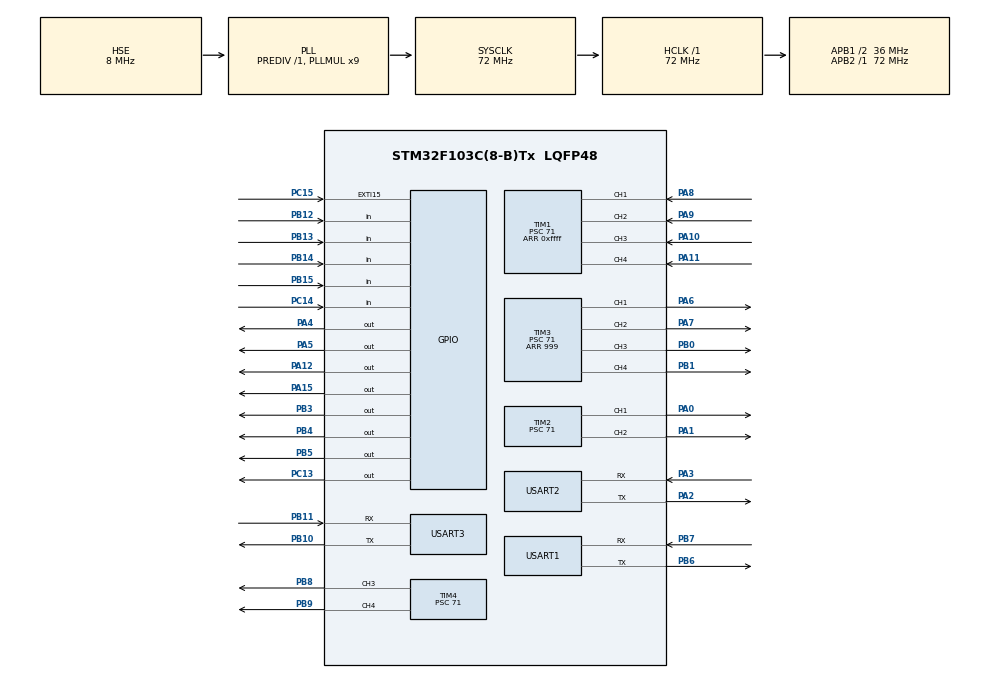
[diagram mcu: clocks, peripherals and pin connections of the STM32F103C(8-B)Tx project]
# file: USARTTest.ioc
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Mcu.Family=STM32F1
Mcu.Name=STM32F103C(8-B)Tx
Mcu.Package=LQFP48
NVIC.PriorityGroup=NVIC_PRIORITYGROUP_4
NVIC.TIM1_CC_IRQn=true\:0\:0\:false\:false\:true\:true\:true\:true
NVIC.TIM2_IRQn=true\:0\:0\:false\:false\:true\:true\:true\:true
NVIC.TIM3_IRQn=true\:0\:0\:false\:false\:true\:true\:true\:true
NVIC.TIM4_IRQn=true\:0\:0\:false\:false\:true\:true\:true\:true
NVIC.USART1_IRQn=true\:0\:0\:false\:false\:true\:true\:true\:true
NVIC.USART2_IRQn=true\:0\:0\:false\:false\:true\:true\:true\:true
NVIC.USART3_IRQn=true\:0\:0\:false\:false\:true\:true\:true\:true
PA0-WKUP.Signal=S_TIM2_CH1_ETR
PA1.Signal=S_TIM2_CH2
PA10.GPIO_PuPd=GPIO_PULLDOWN
PA10.Signal=S_TIM1_CH3
PA11.GPIO_PuPd=GPIO_PULLDOWN
PA11.Signal=S_TIM1_CH4
PA12.GPIO_ModeDefaultOutputPP=GPIO_MODE_OUTPUT_PP
PA12.GPIO_PuPd=GPIO_NOPULL
PA12.GPIO_Speed=GPIO_SPEED_FREQ_HIGH
PA12.PinState=GPIO_PIN_RESET
PA12.Signal=GPIO_Output
PA13.Mode=Serial_Wire
PA13.Signal=SYS_JTMS-SWDIO
PA14.Mode=Serial_Wire
PA14.Signal=SYS_JTCK-SWCLK
PA15.GPIO_PuPd=GPIO_PULLDOWN
PA15.Signal=GPIO_Output
PA2.Mode=Asynchronous
PA2.Signal=USART2_TX
PA3.Mode=Asynchronous
PA3.Signal=USART2_RX
PA4.GPIO_PuPd=GPIO_PULLDOWN
PA4.GPIO_Speed=GPIO_SPEED_FREQ_HIGH
PA4.Signal=GPIO_Output
PA5.GPIO_PuPd=GPIO_PULLDOWN
PA5.GPIO_Speed=GPIO_SPEED_FREQ_HIGH
PA5.PinState=GPIO_PIN_RESET
PA5.Signal=GPIO_Output
PA6.Signal=S_TIM3_CH1
PA7.Signal=S_TIM3_CH2
PA8.GPIO_PuPd=GPIO_PULLDOWN
PA8.Signal=S_TIM1_CH1
PA9.GPIO_PuPd=GPIO_PULLDOWN
PA9.Signal=S_TIM1_CH2
PB0.Signal=S_TIM3_CH3
PB1.Signal=S_TIM3_CH4
PB10.Mode=Asynchronous
PB10.Signal=USART3_TX
PB11.GPIO_PuPd=GPIO_PULLDOWN
PB11.Mode=Asynchronous
PB11.Signal=USART3_RX
PB12.GPIO_PuPd=GPIO_PULLDOWN
PB12.Signal=GPIO_Input
PB13.GPIO_PuPd=GPIO_PULLDOWN
PB13.Signal=GPIO_Input
PB14.GPIO_PuPd=GPIO_PULLDOWN
PB14.Signal=GPIO_Input
PB15.GPIO_PuPd=GPIO_PULLDOWN
PB15.Signal=GPIO_Input
PB3.GPIO_PuPd=GPIO_PULLDOWN
PB3.Signal=GPIO_Output
PB4.GPIO_PuPd=GPIO_PULLDOWN
PB4.Signal=GPIO_Output
PB5.GPIO_PuPd=GPIO_PULLDOWN
PB5.Signal=GPIO_Output
PB6.Mode=Asynchronous
PB6.Signal=USART1_TX
PB7.GPIO_PuPd=GPIO_PULLDOWN
PB7.Mode=Asynchronous
PB7.Signal=USART1_RX
PB8.Signal=S_TIM4_CH3
PB9.Signal=S_TIM4_CH4
PC13-TAMPER-RTC.GPIO_PuPd=GPIO_NOPULL
PC13-TAMPER-RTC.GPIO_Speed=GPIO_SPEED_FREQ_HIGH
PC13-TAMPER-RTC.PinState=GPIO_PIN_RESET
PC13-TAMPER-RTC.Signal=GPIO_Output
PC14-OSC32_IN.GPIO_PuPd=GPIO_PULLDOWN
PC14-OSC32_IN.Signal=GPIO_Input
PC15-OSC32_OUT.GPIO_ModeDefaultEXTI=GPIO_MODE_IT_RISING
PC15-OSC32_OUT.GPIO_PuPd=GPIO_PULLDOWN
PC15-OSC32_OUT.Signal=GPXTI15
PD0-OSC_IN.Mode=HSE-External-Oscillator
PD0-OSC_IN.Signal=RCC_OSC_IN
PD1-OSC_OUT.Mode=HSE-External-Oscillator
PD1-OSC_OUT.Signal=RCC_OSC_OUT
ProjectManager.HeapSize=0x200
ProjectManager.StackSize=0x400
ProjectManager.TargetToolchain=MDK-ARM V5
RCC.AHBFreq_Value=72000000
RCC.APB1CLKDivider=RCC_HCLK_DIV2
RCC.APB1Freq_Value=36000000
RCC.APB1TimFreq_Value=72000000
RCC.APB2Freq_Value=72000000
RCC.APB2TimFreq_Value=72000000
RCC.HCLKFreq_Value=72000000
RCC.PLLMUL=RCC_PLL_MUL9
RCC.PLLSourceVirtual=RCC_PLLSOURCE_HSE
RCC.SYSCLKFreq_VALUE=72000000
RCC.SYSCLKSource=RCC_SYSCLKSOURCE_PLLCLK
RCC.USBFreq_Value=72000000
SH.S_TIM1_CH1.0=TIM1_CH1,Input_Capture1_from_TI1
SH.S_TIM1_CH2.0=TIM1_CH2,Input_Capture2_from_TI2
SH.S_TIM1_CH3.0=TIM1_CH3,Input_Capture3_from_TI3
SH.S_TIM1_CH4.0=TIM1_CH4,Input_Capture4_from_TI4
SH.S_TIM2_CH1_ETR.0=TIM2_CH1,PWM Generation1 CH1
SH.S_TIM2_CH2.0=TIM2_CH2,PWM Generation2 CH2
SH.S_TIM3_CH1.0=TIM3_CH1,PWM Generation1 CH1
SH.S_TIM3_CH2.0=TIM3_CH2,PWM Generation2 CH2
SH.S_TIM3_CH3.0=TIM3_CH3,PWM Generation3 CH3
SH.S_TIM3_CH4.0=TIM3_CH4,PWM Generation4 CH4
SH.S_TIM4_CH3.0=TIM4_CH3,PWM Generation3 CH3
SH.S_TIM4_CH4.0=TIM4_CH4,PWM Generation4 CH4
TIM1.AutoReloadPreload=TIM_AUTORELOAD_PRELOAD_ENABLE
TIM1.Channel-Input_Capture1_from_TI1=TIM_CHANNEL_1
TIM1.Channel-Input_Capture2_from_TI2=TIM_CHANNEL_2
TIM1.Channel-Input_Capture3_from_TI3=TIM_CHANNEL_3
TIM1.Channel-Input_Capture4_from_TI4=TIM_CHANNEL_4
TIM1.Period=0xffff
TIM1.Prescaler=71
TIM2.Channel-PWM\ Generation1\ CH1=TIM_CHANNEL_1
TIM2.Channel-PWM\ Generation2\ CH2=TIM_CHANNEL_2
TIM2.Period=999
TIM2.Prescaler=71
TIM3.Channel-PWM\ Generation1\ CH1=TIM_CHANNEL_1
TIM3.Channel-PWM\ Generation2\ CH2=TIM_CHANNEL_2
TIM3.Channel-PWM\ Generation3\ CH3=TIM_CHANNEL_3
TIM3.Channel-PWM\ Generation4\ CH4=TIM_CHANNEL_4
TIM3.Period=999
TIM3.Prescaler=71
TIM4.AutoReloadPreload=TIM_AUTORELOAD_PRELOAD_ENABLE
TIM4.Channel-PWM\ Generation3\ CH3=TIM_CHANNEL_3
TIM4.Channel-PWM\ Generation4\ CH4=TIM_CHANNEL_4
TIM4.Period=999
TIM4.Prescaler=71
USART1.VirtualMode=VM_ASYNC
USART2.VirtualMode=VM_ASYNC
USART3.VirtualMode=VM_ASYNC
VP_TIM4_VS_ClockSourceINT.Mode=Internal
board=custom

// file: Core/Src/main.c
/* USER CODE BEGIN Header */
/**
  ******************************************************************************
  * @file           : main.c
  * @brief          : Main program body
  ******************************************************************************
  * @attention
  *
  * Copyright (c) 2022 STMicroelectronics.
  * All rights reserved.
  *
  * This software is licensed under terms that can be found in the LICENSE file
  * in the root directory of this software component.
  * If no LICENSE file comes with this software, it is provided AS-IS.
  *
  ******************************************************************************
  */
/* USER CODE END Header */
#include "main.h"

/* USER CODE BEGIN Includes */
#include "stdio.h"
#include "stm32f1xx_hal_tim.h"
#include "oled.h"
/* USER CODE END Includes */

/* USER CODE BEGIN PD */

#define GPIO_IRQ_		  GPIOC
#define GPIO_IRQ_PIN  GPIO_PIN_15
#define GPIO_DA			  GPIOC
#define GPIO_DA_PIN   GPIO_PIN_14
#define GPIO_CK			  GPIOC
#define GPIO_CK_PIN	  GPIO_PIN_13
#define GPIO_LD			  GPIOA
#define GPIO_LD_PIN	  GPIO_PIN_12

#define EXTI_Keyboard_PinSource EXTI_PinSource15
#define EXTI_Keyboard_Line EXTI_Line15
/* USER CODE END PD */

TIM_HandleTypeDef htim1;
TIM_HandleTypeDef htim2;
TIM_HandleTypeDef htim3;
TIM_HandleTypeDef htim4;

UART_HandleTypeDef huart1;
UART_HandleTypeDef huart2;
UART_HandleTypeDef huart3;

/* USER CODE BEGIN PV */
uint8_t rx;
int w=0;
int speed=0;

uint32_t TIM1_CH3_VAL[5];//0:last;1:current;2:delta;4:COUNTOUT;5:CNT
uint32_t TIM1_CH4_VAL[5];//0:last;1:current;2:delta;4:COUNTOUT;5:CNT
volatile float SPEED3[10];
volatile float SPEED4[10];
volatile float SPEED_3=0;
volatile float SPEED_4=0;
volatile int setspeed3=200;
volatile int setspeed4=200;
const float D=0.065f;
const float PI=3.14159265f;
struct{
	float x_theta;
} car;

typedef struct
{
	volatile float target;
	volatile float kp;
	volatile float ki;
	volatile float kd;
	volatile float P;
	volatile float I;
	volatile float D;
	volatile float last_e;
	volatile float current_e;
}P_I_D;

P_I_D PID_Theta;
float theta=0;
volatile float speed_delta=0;

uint8_t rx_buf1[24];  //  for saving RX Data
uint8_t rx_buf2[24];
uint8_t rx_buf3[24];
char usart1rx[24];
char usart2rx[24];
char usart3rx[24];

char TIM_4_Cnt=0;;

float targeta=450;

char stop_cnt=0;

/* USER CODE END PV */

void SystemClock_Config(void);
static void MX_GPIO_Init(void);
static void MX_USART1_UART_Init(void);
static void MX_TIM2_Init(void);
static void MX_TIM3_Init(void);
static void MX_TIM4_Init(void);
static void MX_TIM1_Init(void);
static void MX_USART3_UART_Init(void);
static void MX_USART2_UART_Init(void);
/* USER CODE BEGIN PFP */
int fputc(int ch,FILE *f);
void Wheel(int w,int speed);
void PID_Init(P_I_D *pid);
float PID_DO(P_I_D *pid,float actualvalue);
float PID_Do(P_I_D *pid,float actualvalue);
float PID_DA(P_I_D *pid,float actualvalue);
void PID_Set_Para(P_I_D *pid,int para,float value);
int Getpix(char* str);
uint16_t Keyboard_ReadData(void);
void KeyAction(uint8_t key);
/* USER CODE END PFP */

int main(void)
{

  /* MCU Configuration--------------------------------------------------------*/

  /* Reset of all peripherals, Initializes the Flash interface and the Systick. */
  HAL_Init();

  /* Configure the system clock */
  SystemClock_Config();

  /* Initialize all configured peripherals */
  MX_GPIO_Init();
  MX_USART1_UART_Init();
  MX_TIM2_Init();
  MX_TIM3_Init();
  MX_TIM4_Init();
  MX_TIM1_Init();
  MX_USART3_UART_Init();
  MX_USART2_UART_Init();
  /* USER CODE BEGIN 2 */
	HAL_TIM_PWM_Start(&htim2,TIM_CHANNEL_1);
	HAL_TIM_PWM_Start(&htim2,TIM_CHANNEL_2);
	HAL_TIM_PWM_Start(&htim4,TIM_CHANNEL_3);
	HAL_TIM_PWM_Start(&htim4,TIM_CHANNEL_4);
	HAL_TIM_PWM_Start(&htim3,TIM_CHANNEL_1);
	HAL_TIM_PWM_Start(&htim3,TIM_CHANNEL_2);
	HAL_TIM_PWM_Start(&htim3,TIM_CHANNEL_3);
	HAL_TIM_PWM_Start(&htim3,TIM_CHANNEL_4);

	HAL_NVIC_SetPriority(SysTick_IRQn,0,0);

	HAL_TIM_Base_Start_IT(&htim1);//Timer turn on(input capture)
	HAL_TIM_IC_Start_IT(&htim1,TIM_CHANNEL_3);
	HAL_TIM_IC_Start_IT(&htim1,TIM_CHANNEL_4);
	HAL_UART_Receive_IT(&huart1,(uint8_t*)rx_buf1, 1);
	HAL_UART_Receive_IT(&huart3,(uint8_t*)rx_buf3, 1);
	HAL_TIM_Base_Start_IT(&htim4);//Timer on
	P_I_D PIDV3,PIDV4;
	PID_Init(&PIDV3);
	PID_Init(&PIDV4);
	PIDV3.target=0.5;
	PIDV4.target=0.5;
	Wheel(3,setspeed3);
	Wheel(4,setspeed4);
	PID_Set_Para(&PIDV3,0,-40);
	PID_Set_Para(&PIDV4,0,-40);
	PID_Set_Para(&PIDV3,1,-0.02);
	PID_Set_Para(&PIDV4,1,-0.02);
	PID_Set_Para(&PIDV3,2,-400);
	PID_Set_Para(&PIDV4,2,-2000);
	PID_Init(&PID_Theta);
	PID_Theta.target=0;
	PID_Set_Para(&PID_Theta,0,0.011);//0.01
	PID_Set_Para(&PID_Theta,1,0.00005);//0.00005
	PID_Set_Para(&PID_Theta,2,0.015);//0.013

	HAL_Delay(1000);

  /* USER CODE END 2 */

  /* Infinite loop */
  while (1)
  {

    /* USER CODE BEGIN 3 */

		//TIM_4_Cnt
		if(TIM_4_Cnt){
			static int t=0;
			if(stop_cnt==2){
				setspeed3=-40;
				setspeed4=5;
				Wheel(3,setspeed3);
				Wheel(4,setspeed4);
				HAL_Delay(5000);
				setspeed3 = 200;
				setspeed4 = 200;
				stop_cnt=0;
			}
			if(t>=5){
//				theta=Getpix(usart3rx);
				speed_delta+=PID_DA(&PID_Theta,theta);
				if(speed_delta>0.25){
					speed_delta=0.25;
				}
				if(speed_delta<-0.25){
					speed_delta=-0.25;
				}
				PIDV3.target=(targeta/1000)+speed_delta;
				PIDV4.target=(targeta/1000)-speed_delta;
				t=0;
			}
			setspeed3+=PID_DO(&PIDV3,SPEED_3);
			setspeed4+=PID_Do(&PIDV4,SPEED_4);
			if(setspeed4<0){
				setspeed4=50;
			}
			if(1){

			}
			Wheel(3,setspeed3);
			Wheel(4,setspeed4);
			TIM_4_Cnt=0;
			t++;
			//printf("%f,%f\r\n",SPEED_3*1000,SPEED_4*1000);
			if(usart3rx[0]=='s'){
				usart3rx[0]=0;
				stop_cnt=1;
			}
			if(usart3rx[0]=='w'){
				usart3rx[0]=0;
				stop_cnt=2;
			}
			if(stop_cnt==1){
				Wheel(3,-40);
				Wheel(4,5);
				while(1){

				}
			}

		}

	}
  /* USER CODE END 3 */
}

void SystemClock_Config(void)
{
  RCC_OscInitTypeDef RCC_OscInitStruct = {0};
  RCC_ClkInitTypeDef RCC_ClkInitStruct = {0};

  /** Initializes the RCC Oscillators according to the specified parameters
  * in the RCC_OscInitTypeDef structure.
  */
  RCC_OscInitStruct.OscillatorType = RCC_OSCILLATORTYPE_HSE;
  RCC_OscInitStruct.HSEState = RCC_HSE_ON;
  RCC_OscInitStruct.HSEPredivValue = RCC_HSE_PREDIV_DIV1;
  RCC_OscInitStruct.HSIState = RCC_HSI_ON;
  RCC_OscInitStruct.PLL.PLLState = RCC_PLL_ON;
  RCC_OscInitStruct.PLL.PLLSource = RCC_PLLSOURCE_HSE;
  RCC_OscInitStruct.PLL.PLLMUL = RCC_PLL_MUL9;
  if (HAL_RCC_OscConfig(&RCC_OscInitStruct) != HAL_OK)
  {
    Error_Handler();
  }

  /** Initializes the CPU, AHB and APB buses clocks
  */
  RCC_ClkInitStruct.ClockType = RCC_CLOCKTYPE_HCLK|RCC_CLOCKTYPE_SYSCLK
                              |RCC_CLOCKTYPE_PCLK1|RCC_CLOCKTYPE_PCLK2;
  RCC_ClkInitStruct.SYSCLKSource = RCC_SYSCLKSOURCE_PLLCLK;
  RCC_ClkInitStruct.AHBCLKDivider = RCC_SYSCLK_DIV1;
  RCC_ClkInitStruct.APB1CLKDivider = RCC_HCLK_DIV2;
  RCC_ClkInitStruct.APB2CLKDivider = RCC_HCLK_DIV1;

  if (HAL_RCC_ClockConfig(&RCC_ClkInitStruct, FLASH_LATENCY_2) != HAL_OK)
  {
    Error_Handler();
  }
}

static void MX_TIM1_Init(void)
{

  TIM_MasterConfigTypeDef sMasterConfig = {0};
  TIM_IC_InitTypeDef sConfigIC = {0};

  htim1.Instance = TIM1;
  htim1.Init.Prescaler = 71;
  htim1.Init.CounterMode = TIM_COUNTERMODE_UP;
  htim1.Init.Period = 0xffff;
  htim1.Init.ClockDivision = TIM_CLOCKDIVISION_DIV1;
  htim1.Init.RepetitionCounter = 0;
  htim1.Init.AutoReloadPreload = TIM_AUTORELOAD_PRELOAD_ENABLE;
  if (HAL_TIM_IC_Init(&htim1) != HAL_OK)
  {
    Error_Handler();
  }
  sMasterConfig.MasterOutputTrigger = TIM_TRGO_RESET;
  sMasterConfig.MasterSlaveMode = TIM_MASTERSLAVEMODE_DISABLE;
  if (HAL_TIMEx_MasterConfigSynchronization(&htim1, &sMasterConfig) != HAL_OK)
  {
    Error_Handler();
  }
  sConfigIC.ICPolarity = TIM_INPUTCHANNELPOLARITY_RISING;
  sConfigIC.ICSelection = TIM_ICSELECTION_DIRECTTI;
  sConfigIC.ICPrescaler = TIM_ICPSC_DIV1;
  sConfigIC.ICFilter = 0;
  if (HAL_TIM_IC_ConfigChannel(&htim1, &sConfigIC, TIM_CHANNEL_1) != HAL_OK)
  {
    Error_Handler();
  }
  if (HAL_TIM_IC_ConfigChannel(&htim1, &sConfigIC, TIM_CHANNEL_2) != HAL_OK)
  {
    Error_Handler();
  }
  if (HAL_TIM_IC_ConfigChannel(&htim1, &sConfigIC, TIM_CHANNEL_3) != HAL_OK)
  {
    Error_Handler();
  }
  if (HAL_TIM_IC_ConfigChannel(&htim1, &sConfigIC, TIM_CHANNEL_4) != HAL_OK)
  {
    Error_Handler();
  }

}

static void MX_TIM2_Init(void)
{

  TIM_MasterConfigTypeDef sMasterConfig = {0};
  TIM_OC_InitTypeDef sConfigOC = {0};

  htim2.Instance = TIM2;
  htim2.Init.Prescaler = 71;
  htim2.Init.CounterMode = TIM_COUNTERMODE_UP;
  htim2.Init.Period = 999;
  htim2.Init.ClockDivision = TIM_CLOCKDIVISION_DIV1;
  htim2.Init.AutoReloadPreload = TIM_AUTORELOAD_PRELOAD_DISABLE;
  if (HAL_TIM_PWM_Init(&htim2) != HAL_OK)
  {
    Error_Handler();
  }
  sMasterConfig.MasterOutputTrigger = TIM_TRGO_RESET;
  sMasterConfig.MasterSlaveMode = TIM_MASTERSLAVEMODE_DISABLE;
  if (HAL_TIMEx_MasterConfigSynchronization(&htim2, &sMasterConfig) != HAL_OK)
  {
    Error_Handler();
  }
  sConfigOC.OCMode = TIM_OCMODE_PWM1;
  sConfigOC.Pulse = 0;
  sConfigOC.OCPolarity = TIM_OCPOLARITY_HIGH;
  sConfigOC.OCFastMode = TIM_OCFAST_DISABLE;
  if (HAL_TIM_PWM_ConfigChannel(&htim2, &sConfigOC, TIM_CHANNEL_1) != HAL_OK)
  {
    Error_Handler();
  }
  if (HAL_TIM_PWM_ConfigChannel(&htim2, &sConfigOC, TIM_CHANNEL_2) != HAL_OK)
  {
    Error_Handler();
  }
  HAL_TIM_MspPostInit(&htim2);

}

static void MX_TIM3_Init(void)
{

  TIM_MasterConfigTypeDef sMasterConfig = {0};
  TIM_OC_InitTypeDef sConfigOC = {0};

  htim3.Instance = TIM3;
  htim3.Init.Prescaler = 71;
  htim3.Init.CounterMode = TIM_COUNTERMODE_UP;
  htim3.Init.Period = 999;
  htim3.Init.ClockDivision = TIM_CLOCKDIVISION_DIV1;
  htim3.Init.AutoReloadPreload = TIM_AUTORELOAD_PRELOAD_DISABLE;
  if (HAL_TIM_PWM_Init(&htim3) != HAL_OK)
  {
    Error_Handler();
  }
  sMasterConfig.MasterOutputTrigger = TIM_TRGO_RESET;
  sMasterConfig.MasterSlaveMode = TIM_MASTERSLAVEMODE_DISABLE;
  if (HAL_TIMEx_MasterConfigSynchronization(&htim3, &sMasterConfig) != HAL_OK)
  {
    Error_Handler();
  }
  sConfigOC.OCMode = TIM_OCMODE_PWM1;
  sConfigOC.Pulse = 0;
  sConfigOC.OCPolarity = TIM_OCPOLARITY_HIGH;
  sConfigOC.OCFastMode = TIM_OCFAST_DISABLE;
  if (HAL_TIM_PWM_ConfigChannel(&htim3, &sConfigOC, TIM_CHANNEL_1) != HAL_OK)
  {
    Error_Handler();
  }
  if (HAL_TIM_PWM_ConfigChannel(&htim3, &sConfigOC, TIM_CHANNEL_2) != HAL_OK)
  {
    Error_Handler();
  }
  if (HAL_TIM_PWM_ConfigChannel(&htim3, &sConfigOC, TIM_CHANNEL_3) != HAL_OK)
  {
    Error_Handler();
  }
  if (HAL_TIM_PWM_ConfigChannel(&htim3, &sConfigOC, TIM_CHANNEL_4) != HAL_OK)
  {
    Error_Handler();
  }
  HAL_TIM_MspPostInit(&htim3);

}

static void MX_TIM4_Init(void)
{

  TIM_ClockConfigTypeDef sClockSourceConfig = {0};
  TIM_MasterConfigTypeDef sMasterConfig = {0};
  TIM_OC_InitTypeDef sConfigOC = {0};

  htim4.Instance = TIM4;
  htim4.Init.Prescaler = 71;
  htim4.Init.CounterMode = TIM_COUNTERMODE_UP;
  htim4.Init.Period = 999;
  htim4.Init.ClockDivision = TIM_CLOCKDIVISION_DIV1;
  htim4.Init.AutoReloadPreload = TIM_AUTORELOAD_PRELOAD_ENABLE;
  if (HAL_TIM_Base_Init(&htim4) != HAL_OK)
  {
    Error_Handler();
  }
  sClockSourceConfig.ClockSource = TIM_CLOCKSOURCE_INTERNAL;
  if (HAL_TIM_ConfigClockSource(&htim4, &sClockSourceConfig) != HAL_OK)
  {
    Error_Handler();
  }
  if (HAL_TIM_PWM_Init(&htim4) != HAL_OK)
  {
    Error_Handler();
  }
  sMasterConfig.MasterOutputTrigger = TIM_TRGO_RESET;
  sMasterConfig.MasterSlaveMode = TIM_MASTERSLAVEMODE_DISABLE;
  if (HAL_TIMEx_MasterConfigSynchronization(&htim4, &sMasterConfig) != HAL_OK)
  {
    Error_Handler();
  }
  sConfigOC.OCMode = TIM_OCMODE_PWM1;
  sConfigOC.Pulse = 0;
  sConfigOC.OCPolarity = TIM_OCPOLARITY_HIGH;
  sConfigOC.OCFastMode = TIM_OCFAST_DISABLE;
  if (HAL_TIM_PWM_ConfigChannel(&htim4, &sConfigOC, TIM_CHANNEL_3) != HAL_OK)
  {
    Error_Handler();
  }
  if (HAL_TIM_PWM_ConfigChannel(&htim4, &sConfigOC, TIM_CHANNEL_4) != HAL_OK)
  {
    Error_Handler();
  }
  HAL_TIM_MspPostInit(&htim4);

}

static void MX_USART1_UART_Init(void)
{

  huart1.Instance = USART1;
  huart1.Init.BaudRate = 115200;
  huart1.Init.WordLength = UART_WORDLENGTH_8B;
  huart1.Init.StopBits = UART_STOPBITS_1;
  huart1.Init.Parity = UART_PARITY_NONE;
  huart1.Init.Mode = UART_MODE_TX_RX;
  huart1.Init.HwFlowCtl = UART_HWCONTROL_NONE;
  huart1.Init.OverSampling = UART_OVERSAMPLING_16;
  if (HAL_UART_Init(&huart1) != HAL_OK)
  {
    Error_Handler();
  }

}

static void MX_USART2_UART_Init(void)
{

  huart2.Instance = USART2;
  huart2.Init.BaudRate = 115200;
  huart2.Init.WordLength = UART_WORDLENGTH_8B;
  huart2.Init.StopBits = UART_STOPBITS_1;
  huart2.Init.Parity = UART_PARITY_NONE;
  huart2.Init.Mode = UART_MODE_TX_RX;
  huart2.Init.HwFlowCtl = UART_HWCONTROL_NONE;
  huart2.Init.OverSampling = UART_OVERSAMPLING_16;
  if (HAL_UART_Init(&huart2) != HAL_OK)
  {
    Error_Handler();
  }

}

static void MX_USART3_UART_Init(void)
{

  huart3.Instance = USART3;
  huart3.Init.BaudRate = 115200;
  huart3.Init.WordLength = UART_WORDLENGTH_8B;
  huart3.Init.StopBits = UART_STOPBITS_1;
  huart3.Init.Parity = UART_PARITY_NONE;
  huart3.Init.Mode = UART_MODE_TX_RX;
  huart3.Init.HwFlowCtl = UART_HWCONTROL_NONE;
  huart3.Init.OverSampling = UART_OVERSAMPLING_16;
  if (HAL_UART_Init(&huart3) != HAL_OK)
  {
    Error_Handler();
  }

}

static void MX_GPIO_Init(void)
{
  GPIO_InitTypeDef GPIO_InitStruct = {0};

  /* GPIO Ports Clock Enable */
  __HAL_RCC_GPIOC_CLK_ENABLE();
  __HAL_RCC_GPIOD_CLK_ENABLE();
  __HAL_RCC_GPIOA_CLK_ENABLE();
  __HAL_RCC_GPIOB_CLK_ENABLE();

  /*Configure GPIO pin Output Level */
  HAL_GPIO_WritePin(GPIOC, GPIO_PIN_13, GPIO_PIN_RESET);

  /*Configure GPIO pin Output Level */
  HAL_GPIO_WritePin(GPIOA, GPIO_PIN_4|GPIO_PIN_5|GPIO_PIN_12|GPIO_PIN_15, GPIO_PIN_RESET);

  /*Configure GPIO pin Output Level */
  HAL_GPIO_WritePin(GPIOB, GPIO_PIN_3|GPIO_PIN_4|GPIO_PIN_5, GPIO_PIN_RESET);

  /*Configure GPIO pin : PC13 */
  GPIO_InitStruct.Pin = GPIO_PIN_13;
  GPIO_InitStruct.Mode = GPIO_MODE_OUTPUT_PP;
  GPIO_InitStruct.Pull = GPIO_NOPULL;
  GPIO_InitStruct.Speed = GPIO_SPEED_FREQ_HIGH;
  HAL_GPIO_Init(GPIOC, &GPIO_InitStruct);

  /*Configure GPIO pin : PC14 */
  GPIO_InitStruct.Pin = GPIO_PIN_14;
  GPIO_InitStruct.Mode = GPIO_MODE_INPUT;
  GPIO_InitStruct.Pull = GPIO_PULLDOWN;
  HAL_GPIO_Init(GPIOC, &GPIO_InitStruct);

  /*Configure GPIO pin : PC15 */
  GPIO_InitStruct.Pin = GPIO_PIN_15;
  GPIO_InitStruct.Mode = GPIO_MODE_IT_RISING;
  GPIO_InitStruct.Pull = GPIO_PULLDOWN;
  HAL_GPIO_Init(GPIOC, &GPIO_InitStruct);

  /*Configure GPIO pins : PA4 PA5 */
  GPIO_InitStruct.Pin = GPIO_PIN_4|GPIO_PIN_5;
  GPIO_InitStruct.Mode = GPIO_MODE_OUTPUT_PP;
  GPIO_InitStruct.Pull = GPIO_PULLDOWN;
  GPIO_InitStruct.Speed = GPIO_SPEED_FREQ_HIGH;
  HAL_GPIO_Init(GPIOA, &GPIO_InitStruct);

  /*Configure GPIO pins : PB12 PB13 PB14 PB15 */
  GPIO_InitStruct.Pin = GPIO_PIN_12|GPIO_PIN_13|GPIO_PIN_14|GPIO_PIN_15;
  GPIO_InitStruct.Mode = GPIO_MODE_INPUT;
  GPIO_InitStruct.Pull = GPIO_PULLDOWN;
  HAL_GPIO_Init(GPIOB, &GPIO_InitStruct);

  /*Configure GPIO pin : PA12 */
  GPIO_InitStruct.Pin = GPIO_PIN_12;
  GPIO_InitStruct.Mode = GPIO_MODE_OUTPUT_PP;
  GPIO_InitStruct.Pull = GPIO_NOPULL;
  GPIO_InitStruct.Speed = GPIO_SPEED_FREQ_HIGH;
  HAL_GPIO_Init(GPIOA, &GPIO_InitStruct);

  /*Configure GPIO pin : PA15 */
  GPIO_InitStruct.Pin = GPIO_PIN_15;
  GPIO_InitStruct.Mode = GPIO_MODE_OUTPUT_PP;
  GPIO_InitStruct.Pull = GPIO_PULLDOWN;
  GPIO_InitStruct.Speed = GPIO_SPEED_FREQ_LOW;
  HAL_GPIO_Init(GPIOA, &GPIO_InitStruct);

  /*Configure GPIO pins : PB3 PB4 PB5 */
  GPIO_InitStruct.Pin = GPIO_PIN_3|GPIO_PIN_4|GPIO_PIN_5;
  GPIO_InitStruct.Mode = GPIO_MODE_OUTPUT_PP;
  GPIO_InitStruct.Pull = GPIO_PULLDOWN;
  GPIO_InitStruct.Speed = GPIO_SPEED_FREQ_LOW;
  HAL_GPIO_Init(GPIOB, &GPIO_InitStruct);

}

/* USER CODE BEGIN 4 */
/**
  * @brief  This function is for USART
  * @retval int
  */

int fputc(int ch,FILE *f)
{
	HAL_UART_Transmit (&huart1 ,(uint8_t *)&ch,1,HAL_MAX_DELAY );
	return ch;
}
/**
  * @brief  This function is used to set the speed of the wheel
	* @param	w: whick wheel to run
	* @param	speed: speed of the wheel
  * @retval int
  */
void Wheel(int w,int speed)
{
	if(speed>750)
	{
		speed=750;
	}
	if(speed<-1000)
	{
		speed=-1000;
	}
	if(w==3){
		if(speed>0)
		{
			HAL_GPIO_WritePin(GPIOB,GPIO_PIN_3,GPIO_PIN_SET);
			__HAL_TIM_SetCompare(&htim4,TIM_CHANNEL_3,1000-speed);
		}else if(speed<0){
			HAL_GPIO_WritePin(GPIOB,GPIO_PIN_3,GPIO_PIN_RESET);
			__HAL_TIM_SetCompare(&htim4,TIM_CHANNEL_3,-speed);
		}else if(speed==0){
			__HAL_TIM_SetCompare(&htim4,TIM_CHANNEL_3,1000);
		}
	}else if(w==4){
		if(speed>0){
		HAL_GPIO_WritePin(GPIOA,GPIO_PIN_15,GPIO_PIN_RESET);
		__HAL_TIM_SetCompare(&htim4,TIM_CHANNEL_4,speed);
		}else if(speed<0){
		HAL_GPIO_WritePin(GPIOA,GPIO_PIN_15,GPIO_PIN_SET);
		__HAL_TIM_SetCompare(&htim4,TIM_CHANNEL_4,1000+speed);
		}else if(speed==0){
		__HAL_TIM_SetCompare(&htim4,TIM_CHANNEL_4,0);
		}
	}
}

/**
  * @brief  TIMER
  * @retval None

  */
void HAL_TIM_PeriodElapsedCallback(TIM_HandleTypeDef *htim){
	if(htim->Instance == TIM1){
		if(htim->Channel == HAL_TIM_ACTIVE_CHANNEL_3){
			TIM1_CH3_VAL[3]++;
		}
		if(htim->Channel == HAL_TIM_ACTIVE_CHANNEL_4){
			TIM1_CH4_VAL[3]++;
		}
	}else if(htim->Instance == TIM4){
		static int i=0;
		i++;
		if(i>=10){
			TIM_4_Cnt=1;
			i=0;
		}
	}
}

void HAL_TIM_IC_CaptureCallback(TIM_HandleTypeDef *htim)
{
	if(htim->Instance == TIM1)
	{
		if(stop_cnt==2){
			return;
		}
		if(htim->Channel == HAL_TIM_ACTIVE_CHANNEL_3){
			if(TIM1_CH3_VAL[4]==0){
				TIM1_CH3_VAL[0] = HAL_TIM_ReadCapturedValue(&htim1,TIM_CHANNEL_3);
				TIM1_CH3_VAL[4]=1;
			}else if(TIM1_CH3_VAL[4]==1){
				TIM1_CH3_VAL[1] = HAL_TIM_ReadCapturedValue(&htim1,TIM_CHANNEL_3);
				TIM1_CH3_VAL[2] = TIM1_CH3_VAL[3]*0xffff+TIM1_CH3_VAL[1] - TIM1_CH3_VAL[0];
				TIM1_CH3_VAL[4]=0;
				TIM1_CH3_VAL[3]=0;
				float tt=0;
				if(HAL_GPIO_ReadPin(GPIOB,GPIO_PIN_14)==GPIO_PIN_RESET){
					int temp = TIM1_CH3_VAL[2];
					tt=PI*D*1000000/390/temp;
				}else{
					int temp = TIM1_CH3_VAL[2];
					tt=-PI*D*1000000/390/temp;
				}
				SPEED_3=0;
				for(int i=0;i<9;i++){
					SPEED_3+=SPEED3[i];
					SPEED3[i]=SPEED3[i+1];
				}
				SPEED_3+=tt;
				SPEED3[9]=tt;
				SPEED_3/=10;
			}

		}

		if(htim->Channel == HAL_TIM_ACTIVE_CHANNEL_4){
			if(TIM1_CH4_VAL[4]==0){
				TIM1_CH4_VAL[0] = HAL_TIM_ReadCapturedValue(&htim1,TIM_CHANNEL_4);
				TIM1_CH4_VAL[4]=1;
			}else if(TIM1_CH4_VAL[4]==1){
				TIM1_CH4_VAL[1] = HAL_TIM_ReadCapturedValue(&htim1,TIM_CHANNEL_4);
				TIM1_CH4_VAL[2] = TIM1_CH4_VAL[3]*0xffff+TIM1_CH4_VAL[1] - TIM1_CH4_VAL[0];
				TIM1_CH4_VAL[4]=0;
				TIM1_CH4_VAL[3]=0;
				float tt=0;
				if(HAL_GPIO_ReadPin(GPIOB,GPIO_PIN_15)==GPIO_PIN_RESET){
					int temp = TIM1_CH4_VAL[2];
					tt=-PI*D*1000000/390/temp;
				}else{
					int temp = TIM1_CH4_VAL[2];
					tt=PI*D*1000000/390/temp;

				}
				SPEED_4=0;
				for(int i=0;i<9;i++){
					SPEED_4+=SPEED4[i];
					SPEED4[i]=SPEED4[i+1];
				}
				SPEED_4+=tt;
				SPEED4[9]=tt;
				SPEED_4/=10;
			}
		}

	}
	HAL_TIM_IC_Start_IT(&htim1,TIM_CHANNEL_3);
	HAL_TIM_IC_Start_IT(&htim1,TIM_CHANNEL_4);
}
/**
  * @brief  This function is used for USART receive
  * @retval None
  */
//void HAL_UART_RxCpltCallback(UART_HandleTypeDef *huart)
//{
//	if(huart == &huart1)
//	{
//		DataGet1(rx_buf1[0]);
//		HAL_UART_AbortReceive_IT(&huart1);
//		HAL_UART_Receive_IT(&huart1, rx_buf1, 1);
//	}
//	if(huart == &huart2)
//	{
//		DataGet2(rx_buf2[0]);
//		HAL_UART_AbortReceive_IT(&huart2);
//		HAL_UART_Receive_IT(&huart2, rx_buf2, 1);
//	}
//	if(huart == &huart3)
//	{
//		DataGet3(rx_buf3[0]);
//		HAL_UART_AbortReceive_IT(&huart3);
//		HAL_UART_Receive_IT(&huart3, rx_buf3, 1);
//	}
//}

void DataGet1(uint8_t ch){
	static int i=0;
	if((ch==0x0D)||(ch==0x0A)){
		i=0;
		targeta=Getpix(usart1rx);
		return;
	}
	usart1rx[i]=ch;
	i++;
}
void DataGet3(uint8_t ch){
	static int i=0;
	if(ch==0x0D||ch==0x0A){
		i=0;
		theta=Getpix(usart3rx);
		return;
	}
	usart3rx[i]=ch;
	i++;
}
void DataGet2(uint8_t ch){
	static int i=0;
	if(ch==0x0D||ch==0x0A){
		i=0;
		return;
	}
	usart2rx[i]=ch;
	i++;
}

void HAL_UART_RxCpltCallback(UART_HandleTypeDef *huart)
{
	if(huart == &huart1)
	{
		DataGet1(rx_buf1[0]);
		HAL_UART_AbortReceive_IT(&huart1);
		HAL_UART_Receive_IT(&huart1,rx_buf1, 1);
	}else if(huart == &huart2){
		DataGet2(rx_buf2[0]);
		HAL_UART_AbortReceive_IT(&huart2);
		HAL_UART_Receive_IT(&huart3,rx_buf2, 1);
	}else if(huart == &huart3)
	{
		DataGet3(rx_buf3[0]);
		HAL_UART_AbortReceive_IT(&huart3);
		HAL_UART_Receive_IT(&huart3,rx_buf3, 1);
	}
}
/**
  * @brief  Initialize PID structure
	* @param	*pid :the pid which need to be initialize
  * @retval None
  */
void PID_Init(P_I_D *pid){
	(*pid).target=0;
	(*pid).kp=0;
	(*pid).ki=0;
	(*pid).kd=0;
	(*pid).P=0;
	(*pid).I=0;
	(*pid).D=0;
	(*pid).last_e=0;
	(*pid).current_e=0;
}
/**
  * @brief  do pid
	* @param	*pid : pid which need to be done
	* @param	actual_e : actual err input
  * @retval output for controller
  */
float PID_DO(P_I_D *pid,float actualvalue){
	static float last;
	if(actualvalue>1){
		actualvalue = last;
	}
	last=actualvalue;
	float res=0;
	(*pid).current_e=actualvalue-(*pid).target;
	(*pid).P=(*pid).kp*(*pid).current_e;
	(*pid).I+=(*pid).current_e;
	(*pid).D=(*pid).kd*((*pid).current_e-(*pid).last_e);
	(*pid).last_e=(*pid).current_e;

	if((*pid).I>10){
		(*pid).I=10;
	}
	if((*pid).I<-10){
		(*pid).I=-10;
	}

	res=(*pid).P+(*pid).ki*(*pid).I+(*pid).D;
	if(res>1000){
		res=1000;
	}else if(res<-1000){
		res=-1000;
	}
	return res;
}

float PID_Do(P_I_D *pid,float actualvalue){
	static float last;
	if(actualvalue>1){
		actualvalue = last;
	}
	if((actualvalue-last>0.1)||(last-actualvalue>0.1)){
		actualvalue = last;
	}
	last=actualvalue;
	float res=0;
	(*pid).current_e=actualvalue-(*pid).target;
	(*pid).P=(*pid).kp*(*pid).current_e;
	(*pid).I+=(*pid).current_e;
	(*pid).D=(*pid).kd*((*pid).current_e-(*pid).last_e);
	(*pid).last_e=(*pid).current_e;
	if((*pid).I>10){
		(*pid).I=10;
	}
	if((*pid).I<-10){
		(*pid).I=-10;
	}
	res=(*pid).P+(*pid).ki*(*pid).I+(*pid).D;
	if(res>1000){
		res=1000;
	}else if(res<-1000){
		res=-1000;
	}
	return res;
}

float PID_DA(P_I_D *pid,float actualvalue){
	float res=0;
	if(actualvalue>360){
		actualvalue = (*pid).current_e;
	}else{
		actualvalue=actualvalue-(*pid).target;
	}
	(*pid).P=(*pid).kp*(actualvalue-(*pid).current_e);
	(*pid).I=actualvalue;
	(*pid).D=(*pid).kd*(actualvalue-2*(*pid).current_e+(*pid).last_e);
	(*pid).last_e=(*pid).current_e;
	(*pid).current_e=actualvalue;
	if((*pid).I>50){
		(*pid).I=50;
	}
	if((*pid).I<-50){
		(*pid).I=-50;
	}

	res=(*pid).P+(*pid).ki*(*pid).I+(*pid).D;
	if(res>1000){
		res=1000;
	}else if(res<-1000){
		res=-1000;
	}
	return res;
}

/**
  * @brief  settings for pid
	* @param	*pid : pid which need to be set
	* @param	para : 1-kp,2-ki,3-kd,4-target
	* @param	value : new value
  * @retval none
  */
void PID_Set_Para(P_I_D *pid,int para,float value){
	switch (para){
		case 0:
			(*pid).kp=value;
			break;
		case 1:
			(*pid).ki=value;
			break;
		case 2:
			(*pid).kd=value;
			break;
		case 3:
			(*pid).target=value;
			break;
	}
}

int Getpix(char* str){
	int i =0;
	int res =0;
	int flag =1;
	if(str[i]=='#'){
		i++;
		if(str[i]=='-'){
			i++;
			flag=-1;
		}
		while(str[i]!='#'){
			res*=10;
			res+=str[i]-48;
			i++;
		}
	}
	return res*flag;
}

void delay_us(uint32_t tim)//lowpercision
{
	uint32_t t,num=0;
	for(num=0;num<tim;num++)
	{
		t=11;
		while(t!=0)
		{
			t--;
		}
	}
}

uint16_t Keyboard_ReadData(void)
{
	uint8_t i,data;
	HAL_GPIO_WritePin(GPIO_LD, GPIO_LD_PIN,GPIO_PIN_SET);
	delay_us(1);
	HAL_GPIO_WritePin(GPIO_LD, GPIO_LD_PIN,GPIO_PIN_RESET);
	for(i=0;i<16;i++)
	{
		delay_us(1);
		if(HAL_GPIO_ReadPin(GPIO_DA, GPIO_DA_PIN))
			data = 16 - i;
		HAL_GPIO_WritePin(GPIO_CK, GPIO_CK_PIN,GPIO_PIN_SET);
		delay_us(1);
		HAL_GPIO_WritePin(GPIO_CK, GPIO_CK_PIN,GPIO_PIN_RESET);
	}
	return data;
}

void KeyAction(uint8_t key)
{
	switch(key)
	{
		case 1:
		{

		}
	  break;
		case 2:
		{

		}
	  break;
		case 3:
		{

		}
	break;

		case 4:
		{

		}
	break;

		case 5:
		{

		}
	  break;

		case 6:
			{
		}
	break;

		case 7:
			{
		}
	  break;

		case 8:
			{
		}
	  break;

		case 9:
			{

		}
	   break;

		case 10:
			{

		}
	  break;

		case 11:
			{

		}
	  break;

		case 12:
		{

		}
	  break;

		case 13:
			{

		}
	  break;

		case 14:
			{

		}
	  break;

		case 15:
			{
		}
	  break;

		case 16:
			{
		}
	  break;
	}
}

void HAL_GPIO_EXTI_Callback(uint16_t GPIO_Pin)
{
	KeyAction(Keyboard_ReadData());
}

/* USER CODE END 4 */

void Error_Handler(void)
{
  __disable_irq();
  while (1)
  {
  }
}
